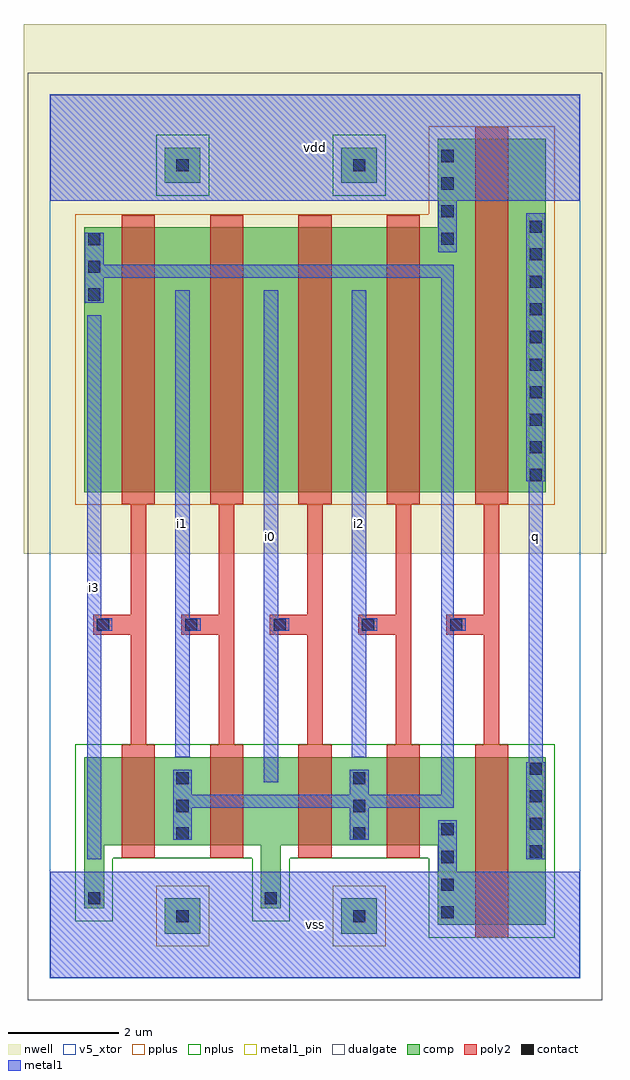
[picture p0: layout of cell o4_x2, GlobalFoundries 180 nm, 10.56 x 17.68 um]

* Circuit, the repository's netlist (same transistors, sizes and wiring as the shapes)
* o4_x2
.subckt o4_x2 vdd q vss i0 i1 i2 i3
Mp_net2_1 vdd _net2 q vdd pfet_06v0 l=0.6um w=6.4um
Mn_net2_1 vss _net2 q vss nfet_06v0 l=0.6um w=3.04um
Mn_i0_1 vss i0 _net2 vss nfet_06v0 l=0.6um w=1.6um
Mp_i0_1 _net3 i0 _net0 vdd pfet_06v0 l=0.6um w=4.8um
Mn_i1_1 _net2 i1 vss vss nfet_06v0 l=0.6um w=1.6um
Mp_i1_1 _net1 i1 _net3 vdd pfet_06v0 l=0.6um w=4.8um
Mp_i2_1 _net0 i2 vdd vdd pfet_06v0 l=0.6um w=4.8um
Mn_i2_1 _net2 i2 vss vss nfet_06v0 l=0.6um w=1.6um
Mn_i3_1 vss i3 _net2 vss nfet_06v0 l=0.6um w=1.6um
Mp_i3_1 _net2 i3 _net1 vdd pfet_06v0 l=0.6um w=4.8um
.ends o4_x2

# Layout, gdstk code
import gdstk
lib = gdstk.Library(unit=1e-6, precision=1e-09)
def R(c, l, rs):  # rectangles x0, y0, x1, y1
    for r in rs: c.add(gdstk.rectangle(r[:2], r[2:], *l))
def A(c, l, x, y, w, h, nx, ny, dx, dy):  # array of equal rectangles
    R(c, l, [(x+i*dx, y+j*dy, x+i*dx+w, y+j*dy+h) for i in range(nx) for j in range(ny)])
def P(c, l, *ps):  # polygons
    for p in ps: c.add(gdstk.Polygon(p, *l))
nwell = (21, 0)
comp = (22, 0)
poly2 = (30, 0)
pplus = (31, 0)
nplus = (32, 0)
contact = (33, 0)
metal1 = (34, 0)
metal1_pin = (34, 10)
dualgate = (55, 0)
v5_xtor = (112, 1)

o4_x2 = lib.new_cell('o4_x2')
R(o4_x2, nwell, [(-0.48,7.68,10.08,17.28)])
R(o4_x2, comp, [(2.08,0.8,2.72,1.44), (5.28,0.8,5.92,1.44), (2.08,14.4,2.72,15.04), (5.28,14.4,5.92,15.04)])
P(o4_x2, comp, [(0.62,8.8),(0.62,13.6),(7.02,13.6),(7.02,15.2),(8.98,15.2),(8.98,8.8)],
  [(7.02,0.96),(7.02,2.4),(4.18,2.4),(4.18,1.26),(3.82,1.26),(3.82,2.4),(0.98,2.4),(0.98,1.26),(0.62,1.26),(0.62,4),(8.98,4),(8.98,0.96)])
P(o4_x2, poly2, [(7.7,0.74),(7.7,4.22),(7.86,4.22),(7.86,6.22),(7.18,6.22),(7.18,6.58),(7.86,6.58),(7.86,8.58),(7.7,8.58),(7.7,15.42),(8.3,15.42),(8.3,8.58),(8.14,8.58),(8.14,4.22),(8.3,4.22),(8.3,0.74)],
  [(4.5,2.18),(4.5,4.22),(4.66,4.22),(4.66,6.22),(3.98,6.22),(3.98,6.58),(4.66,6.58),(4.66,8.58),(4.5,8.58),(4.5,13.82),(5.1,13.82),(5.1,8.58),(4.94,8.58),(4.94,4.22),(5.1,4.22),(5.1,2.18)],
  [(2.9,2.18),(2.9,4.22),(3.06,4.22),(3.06,6.22),(2.38,6.22),(2.38,6.58),(3.06,6.58),(3.06,8.58),(2.9,8.58),(2.9,13.82),(3.5,13.82),(3.5,8.58),(3.34,8.58),(3.34,4.22),(3.5,4.22),(3.5,2.18)],
  [(6.1,2.18),(6.1,4.22),(6.26,4.22),(6.26,6.22),(5.58,6.22),(5.58,6.58),(6.26,6.58),(6.26,8.58),(6.1,8.58),(6.1,13.82),(6.7,13.82),(6.7,8.58),(6.54,8.58),(6.54,4.22),(6.7,4.22),(6.7,2.18)],
  [(1.3,2.18),(1.3,4.22),(1.46,4.22),(1.46,6.22),(0.78,6.22),(0.78,6.58),(1.46,6.58),(1.46,8.58),(1.3,8.58),(1.3,13.82),(1.9,13.82),(1.9,8.58),(1.74,8.58),(1.74,4.22),(1.9,4.22),(1.9,2.18)])
R(o4_x2, pplus, [(1.92,0.57,2.88,1.67), (5.12,0.57,6.08,1.67)])
P(o4_x2, pplus, [(0.46,8.57),(0.46,13.83),(6.86,13.83),(6.86,15.43),(9.14,15.43),(9.14,8.57)])
R(o4_x2, nplus, [(1.92,14.17,2.88,15.27), (5.12,14.17,6.08,15.27)])
P(o4_x2, nplus, [(6.86,0.73),(6.86,2.17),(4.34,2.17),(4.34,1.03),(3.66,1.03),(3.66,2.17),(1.14,2.17),(1.14,1.03),(0.46,1.03),(0.46,4.23),(9.14,4.23),(9.14,0.73)])
A(o4_x2, contact, 7.09, 1.08, 0.22, 0.22, 1, 4, 0, 0.5)
A(o4_x2, contact, 8.69, 2.18, 0.22, 0.22, 1, 4, 0, 0.5)
A(o4_x2, contact, 2.29, 2.505, 0.22, 0.22, 1, 3, 0, 0.5)
A(o4_x2, contact, 5.49, 2.505, 0.22, 0.22, 1, 3, 0, 0.5)
A(o4_x2, contact, 0.85, 6.29, 0.22, 0.22, 5, 1, 1.6, 0)
A(o4_x2, contact, 8.69, 9, 0.22, 0.22, 1, 10, 0, 0.5)
A(o4_x2, contact, 0.69, 12.27, 0.22, 0.22, 1, 3, 0, 0.5)
A(o4_x2, contact, 7.09, 13.28, 0.22, 0.22, 1, 4, 0, 0.5)
R(o4_x2, contact, [(2.29,1.01,2.51,1.23), (5.49,1.01,5.71,1.23), (0.69,1.33,0.91,1.55), (3.89,1.33,4.11,1.55), (2.29,14.61,2.51,14.83), (5.49,14.61,5.71,14.83)])
P(o4_x2, metal1, [(7.03,13.145),(7.03,14.08),(0,14.08),(0,16),(9.6,16),(9.6,14.08),(7.37,14.08),(7.37,13.145)],
  [(8.63,2.15),(8.63,3.905),(8.67,3.905),(8.67,8.995),(8.63,8.995),(8.63,13.85),(8.97,13.85),(8.97,8.995),(8.93,8.995),(8.93,3.905),(8.97,3.905),(8.97,2.15)],
  [(2.23,2.5),(2.23,3.77),(2.57,3.77),(2.57,3.315),(5.43,3.315),(5.43,3.77),(5.77,3.77),(5.77,3.315),(7.085,3.315),(7.085,12.685),(0.97,12.685),(0.97,12.23),(0.63,12.23),(0.63,13.495),(0.97,13.495),(0.97,12.915),(7.315,12.915),(7.315,6.515),(7.53,6.515),(7.53,6.285),(7.315,6.285),(7.315,3.085),(5.77,3.085),(5.77,2.5),(5.43,2.5),(5.43,3.085),(2.57,3.085),(2.57,2.5)],
  [(0,0),(0,1.92),(7.03,1.92),(7.03,2.855),(7.37,2.855),(7.37,1.92),(9.6,1.92),(9.6,0)],
  [(3.87,3.545),(3.87,12.455),(4.13,12.455),(4.13,6.515),(4.33,6.515),(4.33,6.285),(4.13,6.285),(4.13,3.545)],
  [(2.27,4),(2.27,12.455),(2.53,12.455),(2.53,6.515),(2.73,6.515),(2.73,6.285),(2.53,6.285),(2.53,4)],
  [(5.47,4),(5.47,12.455),(5.73,12.455),(5.73,6.515),(5.93,6.515),(5.93,6.285),(5.73,6.285),(5.73,4)],
  [(0.67,2.15),(0.67,12),(0.93,12),(0.93,6.515),(1.13,6.515),(1.13,6.285),(0.93,6.285),(0.93,2.15)])
R(o4_x2, metal1_pin, [(0,0,9.6,1.92), (0.67,2.15,0.93,12), (8.67,2.15,8.93,13.85), (3.87,3.545,4.13,12.455), (2.27,4,2.53,12.455), (5.47,4,5.73,12.455), (0,14.08,9.6,16)])
R(o4_x2, dualgate, [(-0.4,-0.4,10,16.4)])
R(o4_x2, v5_xtor, [(-0.005,-0.005,9.605,16.005)])
o4_x2.add(gdstk.Label('vdd', (4.8,15.04), layer=34, texttype=10))
o4_x2.add(gdstk.Label('q', (8.8,8), layer=34, texttype=10))
o4_x2.add(gdstk.Label('vss', (4.8,0.96), layer=34, texttype=10))
o4_x2.add(gdstk.Label('i0', (4,8), layer=34, texttype=10))
o4_x2.add(gdstk.Label('i1', (2.4,8.228), layer=34, texttype=10))
o4_x2.add(gdstk.Label('i2', (5.6,8.228), layer=34, texttype=10))
o4_x2.add(gdstk.Label('i3', (0.8,7.075), layer=34, texttype=10))

lib.write_gds('o4_x2.gds')
